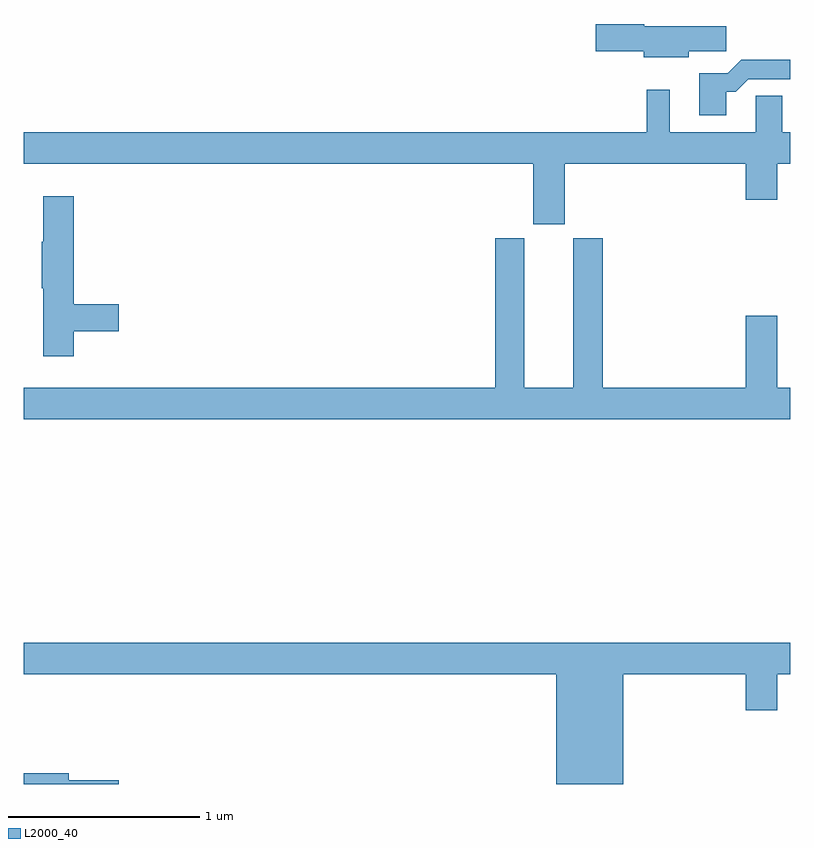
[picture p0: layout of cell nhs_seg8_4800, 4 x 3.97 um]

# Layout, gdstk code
import gdstk
lib = gdstk.Library(unit=1e-6, precision=1e-09)
def P(c, l, *ps):  # polygons
    for p in ps: c.add(gdstk.Polygon(p, *l))
L2000_40 = (2000, 40)

nhs_seg8_4800 = lib.new_cell('nhs_seg8_4800')
P(nhs_seg8_4800, L2000_40, [(404.47,1147.723),(404.665,1147.723),(404.665,1147.852),(404.238,1147.852),(404.238,1147.865),(403.986,1147.865),(403.986,1147.723),(404.234,1147.723),(404.234,1147.691),(404.47,1147.691)],
  [(404.665,1147.511),(404.714,1147.511),(404.781,1147.578),(405,1147.578),(405,1147.679),(404.744,1147.679),(404.674,1147.609),(404.525,1147.609),(404.525,1147.389),(404.665,1147.389)],
  [(403.822,1147.136),(404.768,1147.136),(404.768,1146.948),(404.932,1146.948),(404.932,1147.136),(405,1147.136),(405,1147.3),(404.959,1147.3),(404.959,1147.49),(404.82,1147.49),(404.82,1147.3),(404.371,1147.3),(404.371,1147.522),(404.25,1147.522),(404.25,1147.3),(401,1147.3),(401,1147.136),(403.658,1147.136),(403.658,1146.819),(403.822,1146.819)],
  [(401.261,1146.262),(401.497,1146.262),(401.497,1146.404),(401.261,1146.404),(401.261,1146.967),(401.102,1146.967),(401.102,1146.728),(401.095,1146.728),(401.095,1146.487),(401.102,1146.487),(401.102,1146.132),(401.261,1146.132)],
  [(403.868,1146.747),(403.868,1145.968),(403.612,1145.968),(403.612,1146.747),(403.46,1146.747),(403.46,1145.968),(401,1145.968),(401,1145.804),(405,1145.804),(405,1145.968),(404.932,1145.968),(404.932,1146.343),(404.768,1146.343),(404.768,1145.968),(404.021,1145.968),(404.021,1146.747)],
  [(404.128,1144.472),(404.768,1144.472),(404.768,1144.284),(404.932,1144.284),(404.932,1144.472),(405,1144.472),(405,1144.636),(401,1144.636),(401,1144.472),(403.778,1144.472),(403.778,1143.9),(404.128,1143.9)],
  [(401.497,1143.92),(401.236,1143.92),(401.236,1143.956),(401,1143.956),(401,1143.9),(401.497,1143.9)])

lib.write_gds('nhs_seg8_4800.gds')
